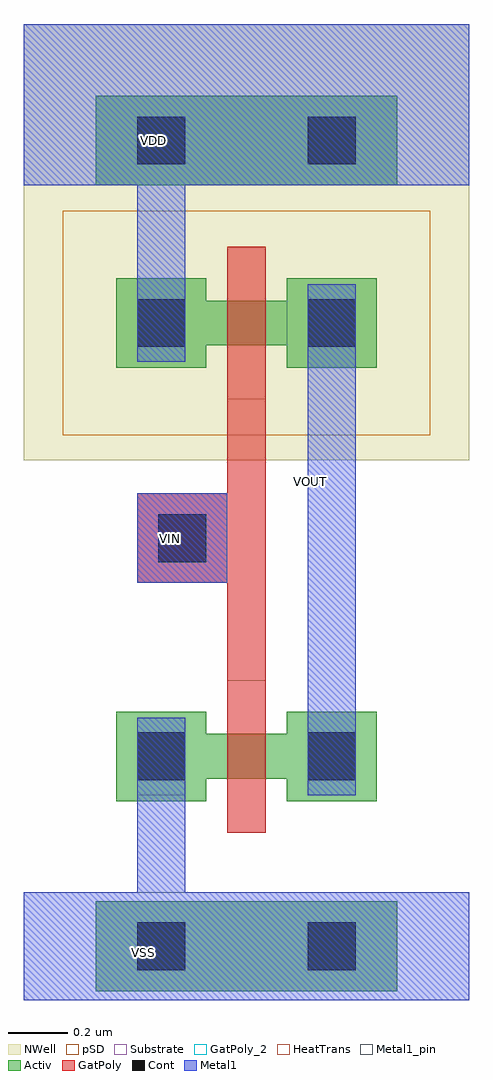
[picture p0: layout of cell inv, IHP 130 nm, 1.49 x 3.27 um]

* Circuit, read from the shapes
.subckt inv VDD VIN VOUT VSS
XM1 VOUT VIN VSS VSS sg13_lv_nmos w=0.15u l=0.13u
XM2 VOUT VIN VDD VDD sg13_lv_pmos w=0.15u l=0.13u
.ends

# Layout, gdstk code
import gdstk
lib = gdstk.Library(unit=1e-6, precision=5e-09)
def R(c, l, rs):  # rectangles x0, y0, x1, y1
    for r in rs: c.add(gdstk.rectangle(r[:2], r[2:], *l))
Activ = (1, 0)
GatPoly = (5, 0)
GatPoly_2 = (5, 2)
Cont = (6, 0)
Metal1 = (8, 0)
Metal1_pin = (8, 2)
pSD = (14, 0)
NWell = (31, 0)
Substrate = (40, 0)
HeatTrans = (51, 0)

pmos_1_1 = lib.new_cell('pmos$1$1')
R(pmos_1_1, Activ, [(0,0,0.3,0.3), (0.57,0,0.87,0.3), (0,0.075,0.87,0.225)])
R(pmos_1_1, GatPoly, [(0.37,-0.105,0.5,0.405), (0.37,-0.105,0.5,0.405)])
R(pmos_1_1, Cont, [(0.07,0.07,0.23,0.23), (0.64,0.07,0.8,0.23)])
R(pmos_1_1, Metal1, [(0.07,0.02,0.23,0.28), (0.07,0.02,0.23,0.28), (0.64,0.02,0.8,0.28), (0.64,0.02,0.8,0.28)])
R(pmos_1_1, pSD, [(-0.18,-0.225,1.05,0.525)])
R(pmos_1_1, NWell, [(-0.31,-0.31,1.18,0.61)])
R(pmos_1_1, Substrate, [(0.57,0,0.87,0.3)])
R(pmos_1_1, HeatTrans, [(0.37,-0.105,0.5,0.405)])
pmos_1_1.add(gdstk.Label('pmos', (0.435,0.15), layer=63, texttype=0))
pmos_1_1.add(gdstk.Label('pmos', (0.435,0.15), layer=51, texttype=0))

nmos_1_1 = lib.new_cell('nmos$1$1')
R(nmos_1_1, Activ, [(0,0,0.3,0.3), (0.57,0,0.87,0.3), (0,0.075,0.87,0.225)])
R(nmos_1_1, GatPoly, [(0.37,-0.105,0.5,0.405)])
R(nmos_1_1, GatPoly_2, [(0.37,-0.105,0.5,0.405)])
R(nmos_1_1, Cont, [(0.07,0.07,0.23,0.23), (0.64,0.07,0.8,0.23)])
R(nmos_1_1, Metal1, [(0.07,0.02,0.23,0.28), (0.64,0.02,0.8,0.28)])
R(nmos_1_1, Metal1_pin, [(0.07,0.02,0.23,0.28), (0.64,0.02,0.8,0.28)])
R(nmos_1_1, HeatTrans, [(0.37,-0.105,0.5,0.405)])
nmos_1_1.add(gdstk.Label('nmos', (0.435,0.15), layer=63, texttype=0))
nmos_1_1.add(gdstk.Label('nmos', (0.435,0.15), layer=51, texttype=0))

pmos_1_2 = lib.new_cell('pmos$1$2')
R(pmos_1_2, Activ, [(0,0,0.3,0.3), (0.57,0,0.87,0.3), (0,0.075,0.87,0.225)])
R(pmos_1_2, GatPoly, [(0.37,-0.105,0.5,0.405), (0.37,-0.105,0.5,0.405)])
R(pmos_1_2, Cont, [(0.07,0.07,0.23,0.23), (0.64,0.07,0.8,0.23)])
R(pmos_1_2, Metal1, [(0.07,0.02,0.23,0.28), (0.07,0.02,0.23,0.28), (0.64,0.02,0.8,0.28), (0.64,0.02,0.8,0.28)])
R(pmos_1_2, pSD, [(-0.18,-0.225,1.05,0.525)])
R(pmos_1_2, NWell, [(-0.31,-0.31,1.18,0.61)])
R(pmos_1_2, Substrate, [(0.57,0,0.87,0.3)])
R(pmos_1_2, HeatTrans, [(0.37,-0.105,0.5,0.405)])
pmos_1_2.add(gdstk.Label('pmos', (0.435,0.15), layer=63, texttype=0))
pmos_1_2.add(gdstk.Label('pmos', (0.435,0.15), layer=51, texttype=0))

nmos_1_2 = lib.new_cell('nmos$1$2')
R(nmos_1_2, Activ, [(0,0,0.3,0.3), (0.57,0,0.87,0.3), (0,0.075,0.87,0.225)])
R(nmos_1_2, GatPoly, [(0.37,-0.105,0.5,0.405)])
R(nmos_1_2, GatPoly_2, [(0.37,-0.105,0.5,0.405)])
R(nmos_1_2, Cont, [(0.07,0.07,0.23,0.23), (0.64,0.07,0.8,0.23)])
R(nmos_1_2, Metal1, [(0.07,0.02,0.23,0.28), (0.64,0.02,0.8,0.28)])
R(nmos_1_2, Metal1_pin, [(0.07,0.02,0.23,0.28), (0.64,0.02,0.8,0.28)])
R(nmos_1_2, HeatTrans, [(0.37,-0.105,0.5,0.405)])
nmos_1_2.add(gdstk.Label('nmos', (0.435,0.15), layer=63, texttype=0))
nmos_1_2.add(gdstk.Label('nmos', (0.435,0.15), layer=51, texttype=0))

pmos_1_1_1 = lib.new_cell('pmos$1$1$1')
R(pmos_1_1_1, Activ, [(0,0,0.3,0.3), (0.57,0,0.87,0.3), (0,0.075,0.87,0.225)])
R(pmos_1_1_1, GatPoly, [(0.37,-0.105,0.5,0.405), (0.37,-0.105,0.5,0.405)])
R(pmos_1_1_1, Cont, [(0.07,0.07,0.23,0.23), (0.64,0.07,0.8,0.23)])
R(pmos_1_1_1, Metal1, [(0.07,0.02,0.23,0.28), (0.07,0.02,0.23,0.28), (0.64,0.02,0.8,0.28), (0.64,0.02,0.8,0.28)])
R(pmos_1_1_1, pSD, [(-0.18,-0.225,1.05,0.525)])
R(pmos_1_1_1, NWell, [(-0.31,-0.31,1.18,0.61)])
R(pmos_1_1_1, Substrate, [(0.57,0,0.87,0.3)])
R(pmos_1_1_1, HeatTrans, [(0.37,-0.105,0.5,0.405)])
pmos_1_1_1.add(gdstk.Label('pmos', (0.435,0.15), layer=63, texttype=0))
pmos_1_1_1.add(gdstk.Label('pmos', (0.435,0.15), layer=51, texttype=0))

nmos_1_1_1 = lib.new_cell('nmos$1$1$1')
R(nmos_1_1_1, Activ, [(0,0,0.3,0.3), (0.57,0,0.87,0.3), (0,0.075,0.87,0.225)])
R(nmos_1_1_1, GatPoly, [(0.37,-0.105,0.5,0.405)])
R(nmos_1_1_1, GatPoly_2, [(0.37,-0.105,0.5,0.405)])
R(nmos_1_1_1, Cont, [(0.07,0.07,0.23,0.23), (0.64,0.07,0.8,0.23)])
R(nmos_1_1_1, Metal1, [(0.07,0.02,0.23,0.28), (0.64,0.02,0.8,0.28)])
R(nmos_1_1_1, Metal1_pin, [(0.07,0.02,0.23,0.28), (0.64,0.02,0.8,0.28)])
R(nmos_1_1_1, HeatTrans, [(0.37,-0.105,0.5,0.405)])
nmos_1_1_1.add(gdstk.Label('nmos', (0.435,0.15), layer=63, texttype=0))
nmos_1_1_1.add(gdstk.Label('nmos', (0.435,0.15), layer=51, texttype=0))

pmos_1_2_1 = lib.new_cell('pmos$1$2$1')
R(pmos_1_2_1, Activ, [(0,0,0.3,0.3), (0.57,0,0.87,0.3), (0,0.075,0.87,0.225)])
R(pmos_1_2_1, GatPoly, [(0.37,-0.105,0.5,0.405), (0.37,-0.105,0.5,0.405)])
R(pmos_1_2_1, Cont, [(0.07,0.07,0.23,0.23), (0.64,0.07,0.8,0.23)])
R(pmos_1_2_1, Metal1, [(0.07,0.02,0.23,0.28), (0.07,0.02,0.23,0.28), (0.64,0.02,0.8,0.28), (0.64,0.02,0.8,0.28)])
R(pmos_1_2_1, pSD, [(-0.18,-0.225,1.05,0.525)])
R(pmos_1_2_1, NWell, [(-0.31,-0.31,1.18,0.61)])
R(pmos_1_2_1, Substrate, [(0.57,0,0.87,0.3)])
R(pmos_1_2_1, HeatTrans, [(0.37,-0.105,0.5,0.405)])
pmos_1_2_1.add(gdstk.Label('pmos', (0.435,0.15), layer=63, texttype=0))
pmos_1_2_1.add(gdstk.Label('pmos', (0.435,0.15), layer=51, texttype=0))

nmos_1_2_1 = lib.new_cell('nmos$1$2$1')
R(nmos_1_2_1, Activ, [(0,0,0.3,0.3), (0.57,0,0.87,0.3), (0,0.075,0.87,0.225)])
R(nmos_1_2_1, GatPoly, [(0.37,-0.105,0.5,0.405)])
R(nmos_1_2_1, GatPoly_2, [(0.37,-0.105,0.5,0.405)])
R(nmos_1_2_1, Cont, [(0.07,0.07,0.23,0.23), (0.64,0.07,0.8,0.23)])
R(nmos_1_2_1, Metal1, [(0.07,0.02,0.23,0.28), (0.64,0.02,0.8,0.28)])
R(nmos_1_2_1, Metal1_pin, [(0.07,0.02,0.23,0.28), (0.64,0.02,0.8,0.28)])
R(nmos_1_2_1, HeatTrans, [(0.37,-0.105,0.5,0.405)])
nmos_1_2_1.add(gdstk.Label('nmos', (0.435,0.15), layer=63, texttype=0))
nmos_1_2_1.add(gdstk.Label('nmos', (0.435,0.15), layer=51, texttype=0))

pmos_1_4 = lib.new_cell('pmos$1$4')
R(pmos_1_4, Activ, [(0,0,0.3,0.3), (0.57,0,0.87,0.3), (0,0.075,0.87,0.225)])
R(pmos_1_4, GatPoly, [(0.37,-0.105,0.5,0.405), (0.37,-0.105,0.5,0.405)])
R(pmos_1_4, Cont, [(0.07,0.07,0.23,0.23), (0.64,0.07,0.8,0.23)])
R(pmos_1_4, Metal1, [(0.07,0.02,0.23,0.28), (0.07,0.02,0.23,0.28), (0.64,0.02,0.8,0.28), (0.64,0.02,0.8,0.28)])
R(pmos_1_4, pSD, [(-0.18,-0.225,1.05,0.525)])
R(pmos_1_4, NWell, [(-0.31,-0.31,1.18,0.61)])
R(pmos_1_4, Substrate, [(0.57,0,0.87,0.3)])
R(pmos_1_4, HeatTrans, [(0.37,-0.105,0.5,0.405)])
pmos_1_4.add(gdstk.Label('pmos', (0.435,0.15), layer=63, texttype=0))
pmos_1_4.add(gdstk.Label('pmos', (0.435,0.15), layer=51, texttype=0))

nmos_1_4 = lib.new_cell('nmos$1$4')
R(nmos_1_4, Activ, [(0,0,0.3,0.3), (0.57,0,0.87,0.3), (0,0.075,0.87,0.225)])
R(nmos_1_4, GatPoly, [(0.37,-0.105,0.5,0.405)])
R(nmos_1_4, GatPoly_2, [(0.37,-0.105,0.5,0.405)])
R(nmos_1_4, Cont, [(0.07,0.07,0.23,0.23), (0.64,0.07,0.8,0.23)])
R(nmos_1_4, Metal1, [(0.07,0.02,0.23,0.28), (0.64,0.02,0.8,0.28)])
R(nmos_1_4, Metal1_pin, [(0.07,0.02,0.23,0.28), (0.64,0.02,0.8,0.28)])
R(nmos_1_4, HeatTrans, [(0.37,-0.105,0.5,0.405)])
nmos_1_4.add(gdstk.Label('nmos', (0.435,0.15), layer=63, texttype=0))
nmos_1_4.add(gdstk.Label('nmos', (0.435,0.15), layer=51, texttype=0))

pmos_1_5 = lib.new_cell('pmos$1$5')
R(pmos_1_5, Activ, [(0,0,0.3,0.3), (0.57,0,0.87,0.3), (0,0.075,0.87,0.225)])
R(pmos_1_5, GatPoly, [(0.37,-0.105,0.5,0.405), (0.37,-0.105,0.5,0.405)])
R(pmos_1_5, Cont, [(0.07,0.07,0.23,0.23), (0.64,0.07,0.8,0.23)])
R(pmos_1_5, Metal1, [(0.07,0.02,0.23,0.28), (0.07,0.02,0.23,0.28), (0.64,0.02,0.8,0.28), (0.64,0.02,0.8,0.28)])
R(pmos_1_5, pSD, [(-0.18,-0.225,1.05,0.525)])
R(pmos_1_5, NWell, [(-0.31,-0.31,1.18,0.61)])
R(pmos_1_5, Substrate, [(0.57,0,0.87,0.3)])
R(pmos_1_5, HeatTrans, [(0.37,-0.105,0.5,0.405)])
pmos_1_5.add(gdstk.Label('pmos', (0.435,0.15), layer=63, texttype=0))
pmos_1_5.add(gdstk.Label('pmos', (0.435,0.15), layer=51, texttype=0))

nmos_1_5 = lib.new_cell('nmos$1$5')
R(nmos_1_5, Activ, [(0,0,0.3,0.3), (0.57,0,0.87,0.3), (0,0.075,0.87,0.225)])
R(nmos_1_5, GatPoly, [(0.37,-0.105,0.5,0.405)])
R(nmos_1_5, GatPoly_2, [(0.37,-0.105,0.5,0.405)])
R(nmos_1_5, Cont, [(0.07,0.07,0.23,0.23), (0.64,0.07,0.8,0.23)])
R(nmos_1_5, Metal1, [(0.07,0.02,0.23,0.28), (0.64,0.02,0.8,0.28)])
R(nmos_1_5, Metal1_pin, [(0.07,0.02,0.23,0.28), (0.64,0.02,0.8,0.28)])
R(nmos_1_5, HeatTrans, [(0.37,-0.105,0.5,0.405)])
nmos_1_5.add(gdstk.Label('nmos', (0.435,0.15), layer=63, texttype=0))
nmos_1_5.add(gdstk.Label('nmos', (0.435,0.15), layer=51, texttype=0))

inv = lib.new_cell('inv')
R(inv, Activ, [(0.48,-0.04,1.49,0.26), (0.48,-0.04,1.49,0.26), (0.48,-0.04,1.49,0.26), (0.48,-0.04,1.49,0.26), (0.48,-0.04,1.49,0.26), (0.48,-0.04,1.49,0.26), (0.48,2.655,1.49,2.955), (0.48,2.655,1.49,2.955), (0.48,2.655,1.49,2.955), (0.48,2.655,1.49,2.955), (0.48,2.655,1.49,2.955), (0.48,2.655,1.49,2.955)])
R(inv, GatPoly, [(0.92,0.76,1.05,2.45), (0.92,0.76,1.05,2.45), (0.92,0.76,1.05,2.45), (0.92,0.76,1.05,2.45), (0.92,0.76,1.05,2.45), (0.92,0.76,1.05,2.45), (0.62,1.325,0.92,1.625), (0.62,1.325,0.92,1.625), (0.62,1.325,0.92,1.625), (0.62,1.325,0.92,1.625), (0.62,1.325,0.92,1.625), (0.62,1.325,0.92,1.625)])
R(inv, Cont, [(0.62,0.03,0.78,0.19), (0.62,0.03,0.78,0.19), (0.62,0.03,0.78,0.19), (0.62,0.03,0.78,0.19), (0.62,0.03,0.78,0.19), (0.62,0.03,0.78,0.19), (1.19,0.03,1.35,0.19), (1.19,0.03,1.35,0.19), (1.19,0.03,1.35,0.19), (1.19,0.03,1.35,0.19), (1.19,0.03,1.35,0.19), (1.19,0.03,1.35,0.19), (0.69,1.395,0.85,1.555), (0.69,1.395,0.85,1.555), (0.69,1.395,0.85,1.555), (0.69,1.395,0.85,1.555), (0.69,1.395,0.85,1.555), (0.69,1.395,0.85,1.555), (0.62,2.725,0.78,2.885), (0.62,2.725,0.78,2.885), (0.62,2.725,0.78,2.885), (0.62,2.725,0.78,2.885), (0.62,2.725,0.78,2.885), (0.62,2.725,0.78,2.885), (1.19,2.725,1.35,2.885), (1.19,2.725,1.35,2.885), (1.19,2.725,1.35,2.885), (1.19,2.725,1.35,2.885), (1.19,2.725,1.35,2.885), (1.19,2.725,1.35,2.885)])
R(inv, Metal1, [(0.24,-0.07,1.73,0.29), (0.24,-0.07,1.73,0.29), (0.24,-0.07,1.73,0.29), (0.24,-0.07,1.73,0.29), (0.24,-0.07,1.73,0.29), (0.24,-0.07,1.73,0.29), (0.62,-0.04,0.78,0.875), (0.62,-0.04,0.78,0.875), (0.62,-0.04,0.78,0.875), (0.62,-0.04,0.78,0.875), (0.62,-0.04,0.78,0.875), (0.62,-0.04,0.78,0.875), (1.19,0.615,1.35,2.325), (1.19,0.615,1.35,2.325), (1.19,0.615,1.35,2.325), (1.19,0.615,1.35,2.325), (1.19,0.615,1.35,2.325), (1.19,0.615,1.35,2.325), (0.62,1.325,0.92,1.625), (0.62,1.325,0.92,1.625), (0.62,1.325,0.92,1.625), (0.62,1.325,0.92,1.625), (0.62,1.325,0.92,1.625), (0.62,1.325,0.92,1.625), (0.62,2.065,0.78,2.955), (0.62,2.065,0.78,2.955), (0.62,2.065,0.78,2.955), (0.62,2.065,0.78,2.955), (0.62,2.065,0.78,2.955), (0.62,2.065,0.78,2.955), (0.24,2.655,1.73,3.195), (0.24,2.655,1.73,3.195), (0.24,2.655,1.73,3.195), (0.24,2.655,1.73,3.195), (0.24,2.655,1.73,3.195), (0.24,2.655,1.73,3.195)])
R(inv, Metal1_pin, [(0.24,-0.07,1.73,0.29), (0.24,-0.07,1.73,0.29), (0.24,-0.07,1.73,0.29), (0.24,-0.07,1.73,0.29), (0.24,-0.07,1.73,0.29), (0.24,-0.07,1.73,0.29), (1.19,0.615,1.35,2.325), (1.19,0.615,1.35,2.325), (1.19,0.615,1.35,2.325), (1.19,0.615,1.35,2.325), (1.19,0.615,1.35,2.325), (1.19,0.615,1.35,2.325), (0.62,1.325,0.92,1.625), (0.62,1.325,0.92,1.625), (0.62,1.325,0.92,1.625), (0.62,1.325,0.92,1.625), (0.62,1.325,0.92,1.625), (0.62,1.325,0.92,1.625), (0.24,2.655,1.73,3.195), (0.24,2.655,1.73,3.195), (0.24,2.655,1.73,3.195), (0.24,2.655,1.73,3.195), (0.24,2.655,1.73,3.195), (0.24,2.655,1.73,3.195)])
R(inv, pSD, [(0.24,-0.07,1.73,0.29), (0.24,-0.07,1.73,0.29), (0.24,-0.07,1.73,0.29), (0.24,-0.07,1.73,0.29), (0.24,-0.07,1.73,0.29), (0.24,-0.07,1.73,0.29)])
R(inv, NWell, [(0.24,2.655,1.73,3.195), (0.24,2.655,1.73,3.195), (0.24,2.655,1.73,3.195), (0.24,2.655,1.73,3.195), (0.24,2.655,1.73,3.195), (0.24,2.655,1.73,3.195)])
inv.add(gdstk.Reference(pmos_1_1, (0.55,2.045)))
inv.add(gdstk.Reference(nmos_1_1, (0.55,0.595)))
inv.add(gdstk.Reference(pmos_1_2, (0.55,2.045)))
inv.add(gdstk.Reference(nmos_1_2, (0.55,0.595)))
inv.add(gdstk.Reference(pmos_1_1_1, (0.55,2.045)))
inv.add(gdstk.Reference(nmos_1_1_1, (0.55,0.595)))
inv.add(gdstk.Reference(pmos_1_2_1, (0.55,2.045)))
inv.add(gdstk.Reference(nmos_1_2_1, (0.55,0.595)))
inv.add(gdstk.Reference(pmos_1_4, (0.55,2.045)))
inv.add(gdstk.Reference(nmos_1_4, (0.55,0.595)))
inv.add(gdstk.Reference(pmos_1_5, (0.55,2.045)))
inv.add(gdstk.Reference(nmos_1_5, (0.55,0.595)))
inv.add(gdstk.Label('VSS', (0.64,0.09), layer=8, texttype=25))
inv.add(gdstk.Label('VDD', (0.675,2.805), layer=8, texttype=25))
inv.add(gdstk.Label('VIN', (0.73,1.475), layer=8, texttype=25))
inv.add(gdstk.Label('VOUT', (1.2,1.665), layer=8, texttype=25))
inv.add(gdstk.Label('VSS', (0.64,0.09), layer=8, texttype=25))
inv.add(gdstk.Label('VDD', (0.675,2.805), layer=8, texttype=25))
inv.add(gdstk.Label('VIN', (0.73,1.475), layer=8, texttype=25))
inv.add(gdstk.Label('VOUT', (1.2,1.665), layer=8, texttype=25))
inv.add(gdstk.Label('VSS', (0.64,0.09), layer=8, texttype=25))
inv.add(gdstk.Label('VDD', (0.675,2.805), layer=8, texttype=25))
inv.add(gdstk.Label('VIN', (0.73,1.475), layer=8, texttype=25))
inv.add(gdstk.Label('VOUT', (1.2,1.665), layer=8, texttype=25))
inv.add(gdstk.Label('VSS', (0.64,0.09), layer=8, texttype=25))
inv.add(gdstk.Label('VDD', (0.675,2.805), layer=8, texttype=25))
inv.add(gdstk.Label('VIN', (0.73,1.475), layer=8, texttype=25))
inv.add(gdstk.Label('VOUT', (1.2,1.665), layer=8, texttype=25))
inv.add(gdstk.Label('VSS', (0.64,0.09), layer=8, texttype=25))
inv.add(gdstk.Label('VDD', (0.675,2.805), layer=8, texttype=25))
inv.add(gdstk.Label('VIN', (0.73,1.475), layer=8, texttype=25))
inv.add(gdstk.Label('VOUT', (1.2,1.665), layer=8, texttype=25))
inv.add(gdstk.Label('VSS', (0.64,0.09), layer=8, texttype=25))
inv.add(gdstk.Label('VDD', (0.675,2.805), layer=8, texttype=25))
inv.add(gdstk.Label('VIN', (0.73,1.475), layer=8, texttype=25))
inv.add(gdstk.Label('VOUT', (1.2,1.665), layer=8, texttype=25))

lib.write_gds('inv.gds')
